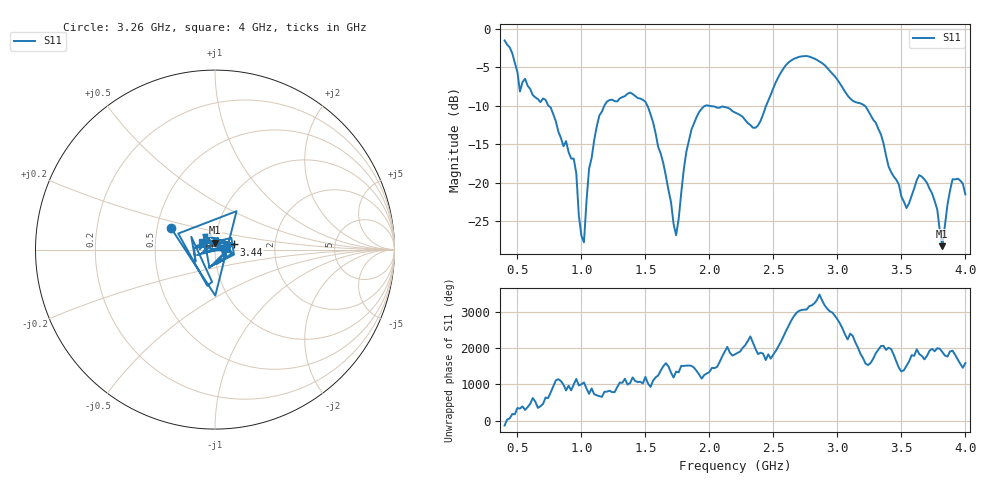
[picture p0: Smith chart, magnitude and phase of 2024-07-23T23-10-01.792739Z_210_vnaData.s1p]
!Created with skrf (http://scikit-rf.org).
# Hz S RI R 50.0
!freq ReS11 ImS11
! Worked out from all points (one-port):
!   181 points, 400 MHz to 4 GHz, reference 50 ohm
!   lowest |S11| = -28.3 dB at 3.82 GHz (marker M1), VSWR 1.08, Z = 49.6 + j3.83 ohm
!   |S11| at or under -10 dB: 1.516 GHz to 1.968 GHz (451.9 MHz wide, 25.9 % of centre); 1.997 GHz to 2.443 GHz (445.6 MHz wide, 20.1 % of centre); 3.213 GHz to end of sweep (the widest 3 of 4)
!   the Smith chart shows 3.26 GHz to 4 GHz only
!   S11 on the Smith chart (normalised r, x): 3.26 GHz: 0.59, +0.16; 3.44 GHz: 1.23, +0.07; 4 GHz: 0.86, +0.08
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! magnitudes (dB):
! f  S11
! 400 MHz  -1.5
! 520 MHz  -8.1
! 720 MHz  -9.2
! 860 MHz  -15.3
! 940 MHz  -16.9
! 980 MHz  -24.3
! 1.02 GHz  -27.8
! 1.06 GHz  -18.2
! 1.14 GHz  -11.3
! 1.3 GHz  -9.0
! 1.52 GHz  -10.1
! 1.74 GHz  -26.9
! 1.76 GHz  -24.7
! 1.82 GHz  -16.0
! 1.92 GHz  -10.8
! 2.2 GHz  -10.9
! 2.36 GHz  -12.9
! 2.66 GHz  -3.9
! 2.88 GHz  -4.4
! 3.1 GHz  -9.1
! 3.26 GHz  -11.2
! 3.44 GHz  -19.2
! 3.56 GHz  -22.7
! 3.68 GHz  -19.6
! 3.78 GHz  -23.5
! 3.82 GHz  -28.3
! 3.9 GHz  -19.6
! 4 GHz  -21.5
